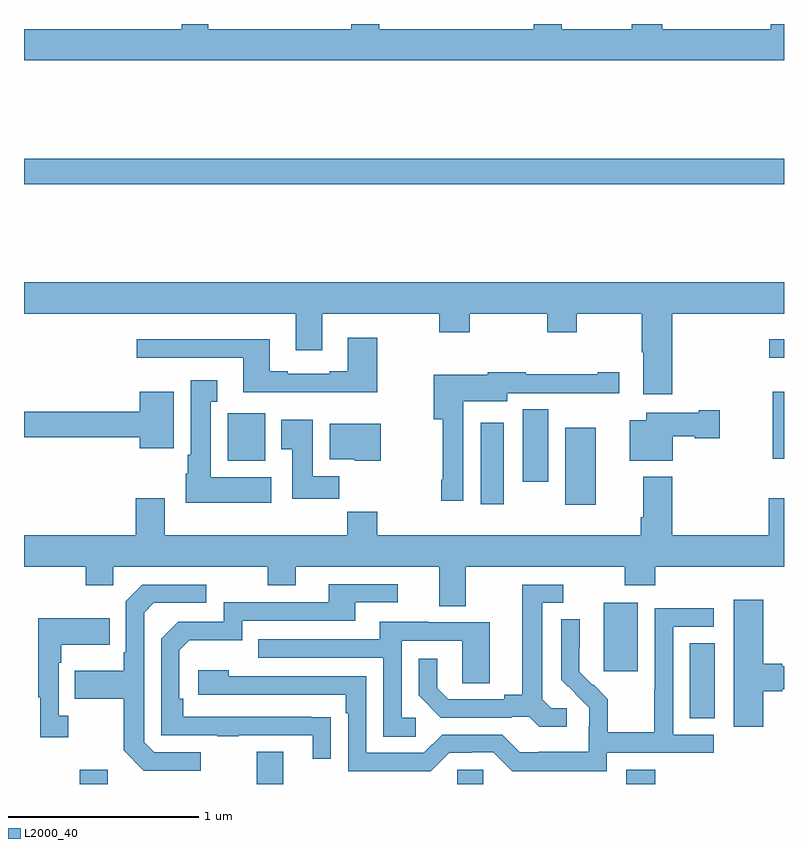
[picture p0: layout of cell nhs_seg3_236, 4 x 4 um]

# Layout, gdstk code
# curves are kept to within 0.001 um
import gdstk
lib = gdstk.Library(unit=1e-6, precision=1e-09)
def R(c, l, rs):  # rectangles x0, y0, x1, y1
    for r in rs: c.add(gdstk.rectangle(r[:2], r[2:], *l))
def P(c, l, *ps):  # polygons
    for p in ps: c.add(gdstk.Polygon(p, *l))
L2000_40 = (2000, 40)

nhs_seg3_236 = lib.new_cell('nhs_seg3_236')
R(nhs_seg3_236, L2000_40, [(121.294,738.4,121.441,738.475), (122.225,738.4,122.365,738.571), (123.279,738.4,123.417,738.474), (124.169,738.4,124.322,738.475), (124.505,738.745,124.636,739.142), (124.052,738.993,124.231,739.354), (123.848,739.869,124.009,740.275), (123.404,739.872,123.526,740.302), (123.626,739.992,123.76,740.372), (122.073,740.102,122.269,740.352), (124.94,740.112,125,740.464), (124.923,740.643,125,740.74), (121,741.556,125,741.692)])
P(nhs_seg3_236, L2000_40, [(125,742.4),(124.931,742.4),(124.931,742.372),(124.358,742.372),(124.358,742.4),(124.198,742.4),(124.198,742.372),(123.831,742.372),(123.831,742.4),(123.684,742.4),(123.684,742.372),(122.871,742.372),(122.871,742.4),(122.723,742.4),(122.723,742.372),(121.969,742.372),(121.969,742.4),(121.829,742.4),(121.829,742.372),(121,742.372),(121,742.208),(125,742.208)],
  [(124.412,740.876),(125,740.876),(125,741.04),(121,741.04),(121,740.876),(122.429,740.876),(122.429,740.682),(122.569,740.682),(122.569,740.876),(123.185,740.876),(123.185,740.777),(123.345,740.777),(123.345,740.876),(123.754,740.876),(123.754,740.777),(123.909,740.777),(123.909,740.876),(124.252,740.876),(124.252,740.672),(124.259,740.672),(124.259,740.451),(124.412,740.451)],
  [(122.858,740.749),(122.705,740.749),(122.705,740.572),(122.609,740.572),(122.609,740.559),(122.389,740.559),(122.389,740.572),(122.293,740.572),(122.293,740.74),(121.593,740.74),(121.593,740.643),(122.153,740.643),(122.153,740.462),(122.858,740.462)],
  [(123.312,740.414),(123.544,740.414),(123.544,740.457),(123.856,740.457),(123.856,740.456),(124.132,740.456),(124.132,740.566),(124.019,740.566),(124.019,740.556),(123.64,740.556),(123.64,740.566),(123.44,740.566),(123.44,740.554),(123.157,740.554),(123.157,740.321),(123.204,740.321),(123.204,740.002),(123.196,740.002),(123.196,739.89),(123.312,739.89)],
  [(122.302,740.014),(121.984,740.014),(121.984,740.411),(122.017,740.411),(122.017,740.524),(121.877,740.524),(121.877,740.134),(121.862,740.134),(121.862,740.034),(121.85,740.034),(121.85,739.88),(122.302,739.88)],
  [(121.789,740.464),(121.61,740.464),(121.61,740.36),(121,740.36),(121,740.224),(121.61,740.224),(121.61,740.168),(121.789,740.168)],
  [(124.414,740.231),(124.53,740.231),(124.53,740.219),(124.663,740.219),(124.663,740.366),(124.55,740.366),(124.55,740.353),(124.274,740.353),(124.274,740.314),(124.187,740.314),(124.187,740.102),(124.414,740.102)],
  [(122.66,740.02),(122.521,740.02),(122.521,740.317),(122.354,740.317),(122.354,740.161),(122.411,740.161),(122.411,739.902),(122.66,739.902)],
  [(122.878,740.296),(122.609,740.296),(122.609,740.108),(122.742,740.108),(122.742,740.102),(122.878,740.102)],
  [(123.325,739.544),(124.162,739.544),(124.162,739.445),(124.322,739.445),(124.322,739.544),(125,739.544),(125,739.903),(124.919,739.903),(124.919,739.708),(124.412,739.708),(124.412,740.017),(124.259,740.017),(124.259,739.804),(124.247,739.804),(124.247,739.708),(122.858,739.708),(122.858,739.832),(122.701,739.832),(122.701,739.708),(121.741,739.708),(121.741,739.903),(121.589,739.903),(121.589,739.708),(121,739.708),(121,739.544),(121.324,739.544),(121.324,739.445),(121.47,739.445),(121.47,739.544),(122.284,739.544),(122.284,739.445),(122.431,739.445),(122.431,739.544),(123.185,739.544),(123.185,739.336),(123.325,739.336)],
  [(122.615,738.752),(121.838,738.753),(121.838,738.85),(121.818,738.85),(121.818,739.104),(121.871,739.157),(122.148,739.157),(122.148,739.26),(122.743,739.26),(122.743,739.356),(122.968,739.356),(122.968,739.452),(122.603,739.452),(122.603,739.356),(122.052,739.356),(122.052,739.254),(121.812,739.254),(121.722,739.164),(121.722,738.657),(122.017,738.657),(122.017,738.652),(122.129,738.652),(122.129,738.657),(122.519,738.657),(122.519,738.534),(122.615,738.534)],
  [(123.856,738.798),(123.774,738.798),(123.727,738.845),(123.727,739.353),(123.838,739.353),(123.838,739.449),(123.623,739.449),(123.623,738.869),(123.527,738.869),(123.527,738.846),(123.232,738.846),(123.175,738.903),(123.175,739.06),(123.078,739.06),(123.078,738.866),(123.194,738.75),(123.566,738.75),(123.566,738.753),(123.66,738.753),(123.712,738.701),(123.856,738.701)],
  [(121.93,738.567),(121.686,738.567),(121.632,738.621),(121.632,739.302),(121.683,739.353),(121.96,739.353),(121.96,739.449),(121.623,739.449),(121.536,739.362),(121.536,739.093),(121.524,739.093),(121.524,738.997),(121.267,738.997),(121.267,738.85),(121.524,738.85),(121.524,738.577),(121.629,738.471),(121.93,738.471)],
  [(124.891,738.887),(124.991,738.887),(124.991,738.899),(125,738.899),(125,739.021),(124.991,739.021),(124.991,739.034),(124.891,739.034),(124.891,739.369),(124.736,739.369),(124.736,738.702),(124.891,738.702)],
  [(124.068,738.564),(124.63,738.564),(124.63,738.66),(124.416,738.66),(124.416,739.227),(124.63,739.227),(124.63,739.326),(124.32,739.326),(124.32,738.896),(124.318,738.896),(124.318,738.673),(124.073,738.673),(124.073,738.847),(123.996,738.924),(123.993,738.921),(123.923,738.992),(123.924,739.268),(123.828,739.268),(123.828,738.95),(123.974,738.802),(123.974,738.705),(123.972,738.705),(123.972,738.571),(123.709,738.571),(123.709,738.567),(123.609,738.567),(123.516,738.66),(123.201,738.66),(123.105,738.564),(122.802,738.564),(122.802,738.966),(122.078,738.966),(122.078,739),(121.917,739),(121.917,738.87),(122.693,738.87),(122.693,738.773),(122.706,738.773),(122.706,738.468),(123.141,738.468),(123.237,738.564),(123.356,738.564),(123.356,738.567),(123.471,738.567),(123.571,738.467),(124.068,738.467)],
  [(121.234,738.758),(121.182,738.758),(121.182,739.037),(121.195,739.037),(121.195,739.133),(121.451,739.133),(121.451,739.273),(121.074,739.273),(121.074,738.857),(121.085,738.857),(121.085,738.645),(121.234,738.645)],
  [(123.061,738.75),(122.988,738.75),(122.988,739.155),(123.306,739.155),(123.306,738.931),(123.451,738.931),(123.451,739.251),(123.127,739.251),(123.127,739.255),(122.873,739.255),(122.873,739.161),(122.233,739.161),(122.233,739.065),(122.892,739.065),(122.892,738.649),(123.061,738.649)])

lib.write_gds('nhs_seg3_236.gds')
